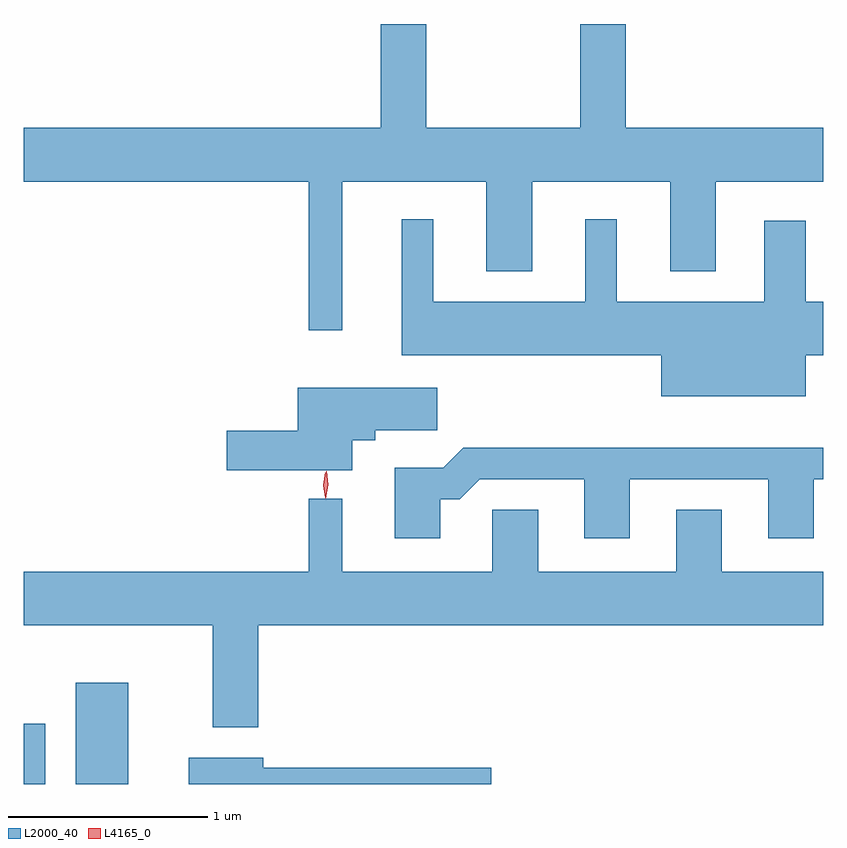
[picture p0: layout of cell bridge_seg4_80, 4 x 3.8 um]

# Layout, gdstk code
import gdstk
lib = gdstk.Library(unit=1e-6, precision=1e-09)
def R(c, l, rs):  # rectangles x0, y0, x1, y1
    for r in rs: c.add(gdstk.rectangle(r[:2], r[2:], *l))
def P(c, l, *ps):  # polygons
    for p in ps: c.add(gdstk.Polygon(p, *l))
L2000_40 = (2000, 40)
L4165_0 = (4165, 0)

bridge_seg4_80 = lib.new_cell('bridge_seg4_80')
R(bridge_seg4_80, L2000_40, [(1804.926,1253.982,1805.034,1254.284), (1805.186,1253.982,1805.449,1254.489)])
P(bridge_seg4_80, L2000_40, [(1806.519,1256.996),(1807.241,1256.996),(1807.241,1256.546),(1807.469,1256.546),(1807.469,1256.996),(1808.161,1256.996),(1808.161,1256.546),(1808.389,1256.546),(1808.389,1256.996),(1808.926,1256.996),(1808.926,1257.264),(1807.939,1257.264),(1807.939,1257.784),(1807.711,1257.784),(1807.711,1257.264),(1806.939,1257.264),(1806.939,1257.784),(1806.711,1257.784),(1806.711,1257.264),(1804.926,1257.264),(1804.926,1256.996),(1806.351,1256.996),(1806.351,1256.253),(1806.519,1256.253)],
  [(1808.839,1256.126),(1808.926,1256.126),(1808.926,1256.394),(1808.839,1256.394),(1808.839,1256.799),(1808.631,1256.799),(1808.631,1256.394),(1807.894,1256.394),(1807.894,1256.808),(1807.736,1256.808),(1807.736,1256.394),(1806.974,1256.394),(1806.974,1256.808),(1806.816,1256.808),(1806.816,1256.126),(1808.116,1256.126),(1808.116,1255.921),(1808.839,1255.921)],
  [(1806.569,1255.701),(1806.684,1255.701),(1806.684,1255.751),(1806.994,1255.751),(1806.994,1255.964),(1806.296,1255.964),(1806.296,1255.749),(1805.941,1255.749),(1805.941,1255.551),(1806.569,1255.551)],
  [(1807.009,1255.406),(1807.107,1255.406),(1807.207,1255.506),(1807.731,1255.506),(1807.731,1255.211),(1807.959,1255.211),(1807.959,1255.506),(1808.651,1255.506),(1808.651,1255.211),(1808.879,1255.211),(1808.879,1255.506),(1808.926,1255.506),(1808.926,1255.664),(1807.124,1255.664),(1807.024,1255.564),(1806.781,1255.564),(1806.781,1255.211),(1807.009,1255.211)],
  [(1806.099,1254.776),(1808.926,1254.776),(1808.926,1255.044),(1808.419,1255.044),(1808.419,1255.354),(1808.191,1255.354),(1808.191,1255.044),(1807.499,1255.044),(1807.499,1255.354),(1807.271,1255.354),(1807.271,1255.044),(1806.519,1255.044),(1806.519,1255.408),(1806.351,1255.408),(1806.351,1255.044),(1804.926,1255.044),(1804.926,1254.776),(1805.871,1254.776),(1805.871,1254.266),(1806.099,1254.266)],
  [(1807.264,1254.064),(1806.124,1254.064),(1806.124,1254.114),(1805.751,1254.114),(1805.751,1253.982),(1807.264,1253.982)])
P(bridge_seg4_80, L4165_0, [(1806.437,1255.41),(1806.429,1255.478),(1806.44,1255.546),(1806.44,1255.546),(1806.441,1255.546),(1806.449,1255.478),(1806.438,1255.41),(1806.438,1255.41)],
  [(1806.434,1255.414),(1806.425,1255.477),(1806.434,1255.541),(1806.435,1255.542),(1806.435,1255.541),(1806.445,1255.477),(1806.435,1255.414),(1806.435,1255.414)])

lib.write_gds('bridge_seg4_80.gds')
